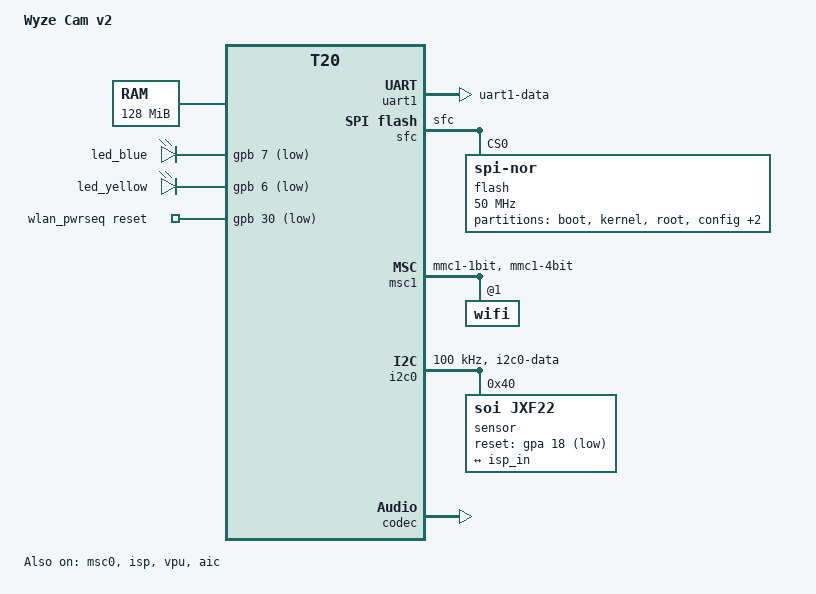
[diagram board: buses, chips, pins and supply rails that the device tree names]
// SPDX-License-Identifier: GPL-2.0
/*
 * Wyze Cam v2: Ingenic T20 ("bull" board in Ingenic's 3.10.14 tree), 128 MB
 * DDR, 16 MB SPI NOR on the SFC, SD card on MSC0, RTL8189FS WiFi on MSC1.
 * Board GPIOs from the vendor bull/board.h and OpenMiko's kernel patches
 * (patches/kernel/linux-led.patch).
 */
/dts-v1/;

#include "t20.dtsi"
#include <dt-bindings/gpio/gpio.h>
#include <dt-bindings/leds/common.h>

/ {
	compatible = "wyze,cam-v2", "ingenic,t20";
	model = "Wyze Cam v2";

	aliases {
		serial0 = &uart0;
		serial1 = &uart1;
	};

	/*
	 * U-Boot's own arguments (mem=, ispmem=, rmem=, mtdparts=) are
	 * ignored: the kernel takes these (CONFIG_MIPS_CMDLINE_FROM_DTB).
	 */
	chosen {
		stdout-path = "serial1:115200n8";
		bootargs = "console=ttyS1,115200n8 earlycon root=/dev/mtdblock2 rootfstype=squashfs ro panic=10";
	};

	memory@0 {
		device_type = "memory";
		reg = <0x0 0x8000000>;
	};

	/*
	 * The top 32 MB (where the vendor kernel had ispmem and rmem) hold
	 * the camera's frame buffers: a CMA area, which Linux uses for
	 * movable pages while the camera does not.
	 */
	reserved-memory {
		#address-cells = <1>;
		#size-cells = <1>;
		ranges;

		camera_mem: camera@6000000 {
			compatible = "shared-dma-pool";
			reg = <0x6000000 0x2000000>;
			reusable;
		};
	};

	leds {
		compatible = "gpio-leds";

		led-0 {
			label = "led_blue";
			gpios = <&gpb 7 GPIO_ACTIVE_LOW>;	/* GPIO 39 */
			default-state = "off";
		};

		led-1 {
			label = "led_yellow";
			gpios = <&gpb 6 GPIO_ACTIVE_LOW>;	/* GPIO 38 */
			default-state = "on";
		};
	};

	/*
	 * RTL8189FS power: PB30 (GPIO 62), high = on. The camera's U-Boot
	 * calls it wifi_enable_gpio and leaves it high; the vendor board.h's
	 * WL_REG_EN (PC16) is not this board's.
	 */
	wlan_pwrseq: wlan-pwrseq {
		compatible = "mmc-pwrseq-simple";
		reset-gpios = <&gpb 30 GPIO_ACTIVE_LOW>;
		post-power-on-delay-ms = <200>;
	};

	/* The microphone through the internal codec (the speaker: not yet) */
	sound {
		compatible = "simple-audio-card";
		simple-audio-card,name = "wyze-cam-v2";
		simple-audio-card,format = "i2s";
		simple-audio-card,bitclock-master = <&dai_codec>;
		simple-audio-card,frame-master = <&dai_codec>;

		simple-audio-card,cpu {
			sound-dai = <&aic>;
		};

		dai_codec: simple-audio-card,codec {
			sound-dai = <&codec>;
		};
	};
};

&uart1 {
	pinctrl-names = "default";
	pinctrl-0 = <&pins_uart1>;

	status = "okay";
};

&sfc {
	pinctrl-names = "default";
	pinctrl-0 = <&pins_sfc>;

	status = "okay";

	flash@0 {
		compatible = "jedec,spi-nor";
		reg = <0>;

		spi-max-frequency = <50000000>;
		spi-tx-bus-width = <1>;
		spi-rx-bus-width = <1>;

		/* Same layout as the stock firmware and OpenMiko */
		partitions {
			compatible = "fixed-partitions";
			#address-cells = <1>;
			#size-cells = <1>;

			partition@0 {
				label = "boot";
				reg = <0x0 0x40000>;
				read-only;
			};

			partition@40000 {
				label = "kernel";
				reg = <0x40000 0x200000>;
			};

			partition@240000 {
				label = "root";
				reg = <0x240000 0xd30000>;
			};

			partition@f70000 {
				label = "config";
				reg = <0xf70000 0x40000>;
			};

			partition@fb0000 {
				label = "para";
				reg = <0xfb0000 0x40000>;
			};

			partition@ff0000 {
				label = "flag";
				reg = <0xff0000 0x10000>;
			};
		};
	};
};

/* SD card: 4 bit on PB0-PB5. Polled: card detect is not confirmed. */
&msc0 {
	bus-width = <4>;
	max-frequency = <48000000>;
	cap-sd-highspeed;
	broken-cd;

	pinctrl-names = "default";
	pinctrl-0 = <&pins_msc0>;

	status = "okay";
};

/* RTL8189FS WiFi: SDIO, 4 bit on PC2-PC7 */
&msc1 {
	#address-cells = <1>;
	#size-cells = <0>;

	bus-width = <4>;
	max-frequency = <24000000>;
	non-removable;
	cap-sdio-irq;
	keep-power-in-suspend;

	mmc-pwrseq = <&wlan_pwrseq>;

	pinctrl-names = "default";
	pinctrl-0 = <&pins_msc1>;

	status = "okay";

	wifi@1 {
		reg = <1>;
	};
};

/* Image sensor: JX-F22 or JX-F23 (the driver reads which) */
&i2c0 {
	clock-frequency = <100000>;

	pinctrl-names = "default";
	pinctrl-0 = <&pins_i2c0>;

	status = "okay";

	sensor@40 {
		compatible = "soi,jxf22";
		reg = <0x40>;

		clocks = <&cgu T20_CLK_CIM>;
		reset-gpios = <&gpa 18 GPIO_ACTIVE_LOW>;

		/* MCLK on its pin before the sensor is probed */
		pinctrl-names = "default";
		pinctrl-0 = <&pins_cim_mclk>;

		port {
			sensor_out: endpoint {
				remote-endpoint = <&isp_in>;
				bus-width = <10>;
				hsync-active = <1>;
				vsync-active = <1>;
				pclk-sample = <1>;
			};
		};
	};
};

&isp {
	memory-region = <&camera_mem>;

	pinctrl-names = "default";
	pinctrl-0 = <&pins_dvp>;

	status = "okay";

	port {
		isp_in: endpoint {
			remote-endpoint = <&sensor_out>;
			bus-width = <10>;
			hsync-active = <1>;
			vsync-active = <1>;
			pclk-sample = <1>;
		};
	};
};

&vpu {
	memory-region = <&camera_mem>;
	status = "okay";
};

&pdma {
	status = "okay";
};

&aic {
	status = "okay";
};

&codec {
	status = "okay";
};

&pinctrl {
	pins_uart1: uart1 {
		function = "uart1";
		groups = "uart1-data";
	};

	pins_sfc: sfc {
		function = "sfc";
		groups = "sfc";
	};

	pins_msc0: msc0 {
		function = "mmc0";
		groups = "mmc0-1bit", "mmc0-4bit";
	};

	pins_msc1: msc1 {
		function = "mmc1";
		groups = "mmc1-1bit", "mmc1-4bit";
	};

	/* Sensor data, sync and pixel clock in */
	pins_dvp: dvp {
		function = "cim";
		groups = "dvp-10bit";
	};

	/* Sensor clock out (24 MHz): without it the sensor does not answer on I2C */
	pins_cim_mclk: cim-mclk {
		function = "cim";
		groups = "cim-mclk";
	};

	pins_i2c0: i2c0 {
		function = "i2c0";
		groups = "i2c0-data";
	};
};
